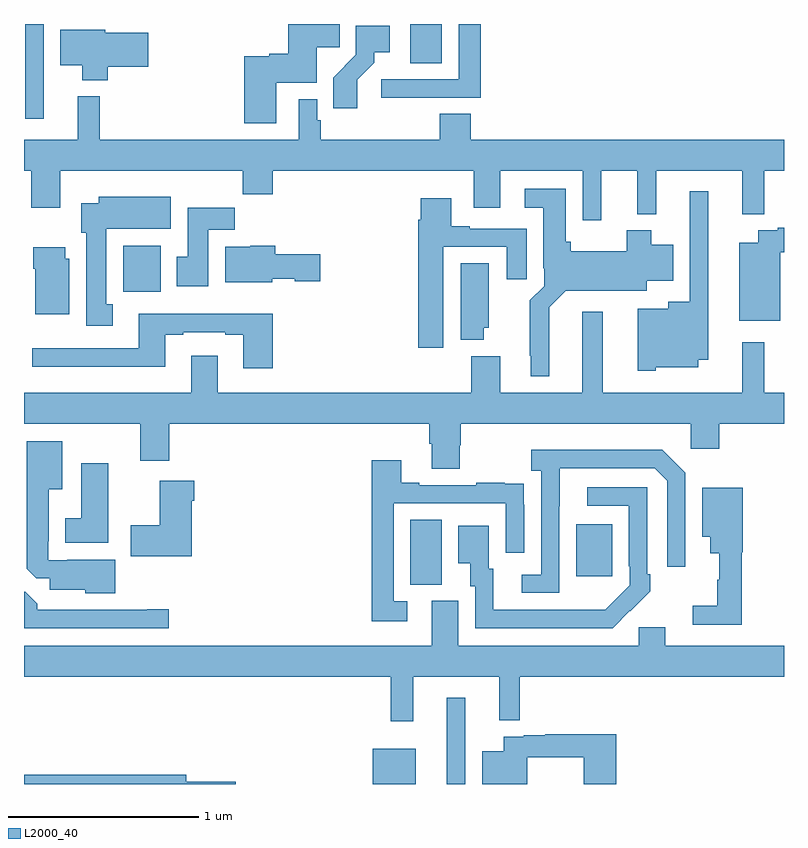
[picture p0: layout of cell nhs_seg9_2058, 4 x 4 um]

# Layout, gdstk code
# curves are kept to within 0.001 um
import gdstk
lib = gdstk.Library(unit=1e-6, precision=1e-09)
def R(c, l, rs):  # rectangles x0, y0, x1, y1
    for r in rs: c.add(gdstk.rectangle(r[:2], r[2:], *l))
def P(c, l, *ps):  # polygons
    for p in ps: c.add(gdstk.Polygon(p, *l))
L2000_40 = (2000, 40)

nhs_seg9_2058 = lib.new_cell('nhs_seg9_2058')
R(nhs_seg9_2058, L2000_40, [(228.836,1218.5,229.063,1218.685), (229.226,1218.5,229.323,1218.955), (229.034,1219.549,229.198,1219.892), (229.907,1219.593,230.095,1219.867), (227.522,1221.092,227.719,1221.334), (227.006,1222.002,227.103,1222.5), (229.034,1222.294,229.198,1222.5)])
P(nhs_seg9_2058, L2000_40, [(228.328,1222.19),(228.541,1222.19),(228.541,1222.378),(228.662,1222.378),(228.662,1222.5),(228.392,1222.5),(228.392,1222.343),(228.291,1222.343),(228.291,1222.33),(228.158,1222.33),(228.158,1221.978),(228.328,1221.978)],
  [(229.103,1222.113),(229.403,1222.113),(229.403,1222.5),(229.287,1222.5),(229.287,1222.209),(228.879,1222.209),(228.879,1222.111),(229.103,1222.111)],
  [(228.754,1222.207),(228.844,1222.297),(228.844,1222.352),(228.925,1222.352),(228.925,1222.492),(228.747,1222.492),(228.747,1222.337),(228.628,1222.218),(228.628,1222.056),(228.754,1222.056)],
  [(227.441,1222.276),(227.653,1222.276),(227.653,1222.454),(227.428,1222.454),(227.428,1222.471),(227.192,1222.471),(227.192,1222.283),(227.306,1222.283),(227.306,1222.205),(227.441,1222.205)],
  [(230.039,1221.728),(230.228,1221.728),(230.228,1221.5),(230.327,1221.5),(230.327,1221.728),(230.78,1221.728),(230.78,1221.499),(230.897,1221.499),(230.897,1221.728),(231,1221.728),(231,1221.892),(229.352,1221.892),(229.352,1222.028),(229.187,1222.028),(229.187,1221.892),(228.563,1221.892),(228.563,1221.993),(228.543,1221.993),(228.543,1222.105),(228.447,1222.105),(228.447,1221.892),(227.399,1221.892),(227.399,1222.12),(227.282,1222.12),(227.282,1221.892),(227,1221.892),(227,1221.728),(227.039,1221.728),(227.039,1221.534),(227.191,1221.534),(227.191,1221.728),(228.151,1221.728),(228.151,1221.604),(228.308,1221.604),(228.308,1221.728),(229.367,1221.728),(229.367,1221.534),(229.507,1221.534),(229.507,1221.728),(229.941,1221.728),(229.941,1221.468),(230.039,1221.468)],
  [(229.765,1221.008),(229.851,1221.095),(230.278,1221.095),(230.278,1221.149),(230.416,1221.149),(230.416,1221.337),(230.302,1221.337),(230.302,1221.415),(230.173,1221.415),(230.173,1221.304),(229.878,1221.304),(229.878,1221.354),(229.852,1221.354),(229.852,1221.634),(229.635,1221.634),(229.635,1221.533),(229.733,1221.533),(229.733,1221.214),(229.737,1221.214),(229.737,1221.12),(229.663,1221.046),(229.663,1220.755),(229.667,1220.755),(229.667,1220.645),(229.765,1220.645)],
  [(230.325,1220.693),(230.548,1220.693),(230.548,1220.732),(230.602,1220.732),(230.602,1221.619),(230.505,1221.619),(230.505,1221.037),(230.39,1221.037),(230.39,1221.001),(230.231,1221.001),(230.231,1220.675),(230.325,1220.675)],
  [(227.467,1221.026),(227.434,1221.026),(227.434,1221.422),(227.773,1221.422),(227.773,1221.592),(227.393,1221.592),(227.393,1221.556),(227.3,1221.556),(227.3,1221.402),(227.327,1221.402),(227.327,1220.913),(227.467,1220.913)],
  [(229.207,1221.327),(229.541,1221.327),(229.541,1221.156),(229.645,1221.156),(229.645,1221.423),(229.345,1221.423),(229.345,1221.436),(229.249,1221.436),(229.249,1221.583),(229.088,1221.583),(229.088,1221.47),(229.076,1221.47),(229.076,1220.796),(229.207,1220.796)],
  [(227.971,1221.416),(228.11,1221.416),(228.11,1221.534),(227.861,1221.534),(227.861,1221.276),(227.804,1221.276),(227.804,1221.12),(227.971,1221.12)],
  [(230.98,1221.298),(231,1221.298),(231,1221.427),(230.968,1221.427),(230.968,1221.414),(230.864,1221.414),(230.864,1221.349),(230.765,1221.349),(230.765,1220.939),(230.98,1220.939)],
  [(228.306,1221.158),(228.426,1221.158),(228.426,1221.146),(228.559,1221.146),(228.559,1221.288),(228.323,1221.288),(228.323,1221.334),(228.192,1221.334),(228.192,1221.328),(228.059,1221.328),(228.059,1221.14),(228.306,1221.14)],
  [(227.239,1221.264),(227.218,1221.264),(227.218,1221.325),(227.048,1221.325),(227.048,1221.212),(227.06,1221.212),(227.06,1220.972),(227.239,1220.972)],
  [(229.42,1220.901),(229.447,1220.901),(229.447,1221.242),(229.298,1221.242),(229.298,1220.837),(229.42,1220.837)],
  [(229.293,1220.283),(229.298,1220.283),(229.298,1220.396),(230.508,1220.396),(230.508,1220.265),(230.66,1220.265),(230.66,1220.396),(231,1220.396),(231,1220.56),(230.897,1220.56),(230.897,1220.824),(230.779,1220.824),(230.779,1220.56),(230.047,1220.56),(230.047,1220.986),(229.937,1220.986),(229.937,1220.56),(229.507,1220.56),(229.507,1220.752),(229.355,1220.752),(229.355,1220.56),(228.019,1220.56),(228.019,1220.755),(227.879,1220.755),(227.879,1220.56),(227,1220.56),(227,1220.396),(227.612,1220.396),(227.612,1220.202),(227.765,1220.202),(227.765,1220.396),(229.133,1220.396),(229.133,1220.29),(229.145,1220.29),(229.145,1220.158),(229.293,1220.158)],
  [(228.308,1220.974),(227.603,1220.974),(227.603,1220.793),(227.043,1220.793),(227.043,1220.696),(227.743,1220.696),(227.743,1220.865),(227.839,1220.865),(227.839,1220.877),(228.059,1220.877),(228.059,1220.865),(228.155,1220.865),(228.155,1220.688),(228.308,1220.688)],
  [(227.479,1219.681),(227.227,1219.681),(227.227,1219.677),(227.127,1219.677),(227.127,1219.777),(227.131,1219.777),(227.131,1220.051),(227.2,1220.051),(227.2,1220.305),(227.015,1220.305),(227.015,1219.633),(227.064,1219.584),(227.135,1219.584),(227.135,1219.523),(227.322,1219.523),(227.322,1219.505),(227.479,1219.505)],
  [(229.818,1219.963),(229.819,1220.163),(230.319,1220.163),(230.385,1220.097),(230.385,1219.644),(230.481,1219.644),(230.481,1220.139),(230.36,1220.26),(229.671,1220.26),(229.671,1220.15),(229.722,1220.15),(229.722,1219.602),(229.62,1219.602),(229.62,1219.506),(229.818,1219.506)],
  [(229.018,1219.461),(228.945,1219.461),(228.945,1219.977),(229.536,1219.977),(229.536,1219.716),(229.632,1219.716),(229.632,1219.97),(229.631,1219.97),(229.631,1220.079),(229.529,1220.079),(229.529,1220.086),(229.381,1220.086),(229.381,1220.073),(229.081,1220.073),(229.081,1220.086),(228.985,1220.086),(228.985,1220.203),(228.829,1220.203),(228.829,1219.356),(229.018,1219.356)],
  [(227.443,1220.188),(227.3,1220.188),(227.3,1219.9),(227.216,1219.9),(227.216,1219.769),(227.443,1219.769)],
  [(227.884,1219.991),(227.897,1219.991),(227.897,1220.095),(227.714,1220.095),(227.714,1219.863),(227.562,1219.863),(227.562,1219.7),(227.884,1219.7)],
  [(230.189,1219.411),(230.19,1219.41),(230.295,1219.515),(230.295,1219.603),(230.28,1219.603),(230.28,1220.061),(229.965,1220.061),(229.965,1219.965),(230.184,1219.965),(230.184,1219.645),(230.187,1219.645),(230.187,1219.545),(230.059,1219.417),(229.471,1219.416),(229.471,1219.632),(229.447,1219.632),(229.447,1219.858),(229.286,1219.858),(229.286,1219.661),(229.349,1219.661),(229.349,1219.542),(229.374,1219.542),(229.374,1219.32),(230.098,1219.32)],
  [(230.777,1219.719),(230.783,1219.719),(230.783,1220.059),(230.57,1220.059),(230.57,1219.802),(230.612,1219.802),(230.612,1219.715),(230.66,1219.715),(230.66,1219.575),(230.649,1219.575),(230.649,1219.439),(230.52,1219.439),(230.52,1219.338),(230.777,1219.338)],
  [(227.761,1219.421),(227.648,1219.421),(227.648,1219.416),(227.069,1219.416),(227.069,1219.45),(227.007,1219.512),(227,1219.512),(227,1219.32),(227.761,1219.32)],
  [(229.049,1219.064),(229.502,1219.064),(229.502,1218.835),(229.61,1218.835),(229.61,1219.064),(231,1219.064),(231,1219.228),(230.374,1219.228),(230.374,1219.326),(230.235,1219.326),(230.235,1219.228),(229.285,1219.228),(229.285,1219.464),(229.145,1219.464),(229.145,1219.228),(227,1219.228),(227,1219.064),(228.931,1219.064),(228.931,1218.831),(229.049,1218.831)],
  [(229.648,1218.642),(229.946,1218.642),(229.946,1218.5),(230.117,1218.5),(230.117,1218.763),(229.744,1218.763),(229.744,1218.756),(229.63,1218.756),(229.63,1218.75),(229.526,1218.75),(229.526,1218.673),(229.412,1218.673),(229.412,1218.5),(229.648,1218.5)],
  [(228.115,1218.512),(227.854,1218.512),(227.854,1218.548),(227,1218.548),(227,1218.5),(228.115,1218.5)])

lib.write_gds('nhs_seg9_2058.gds')
